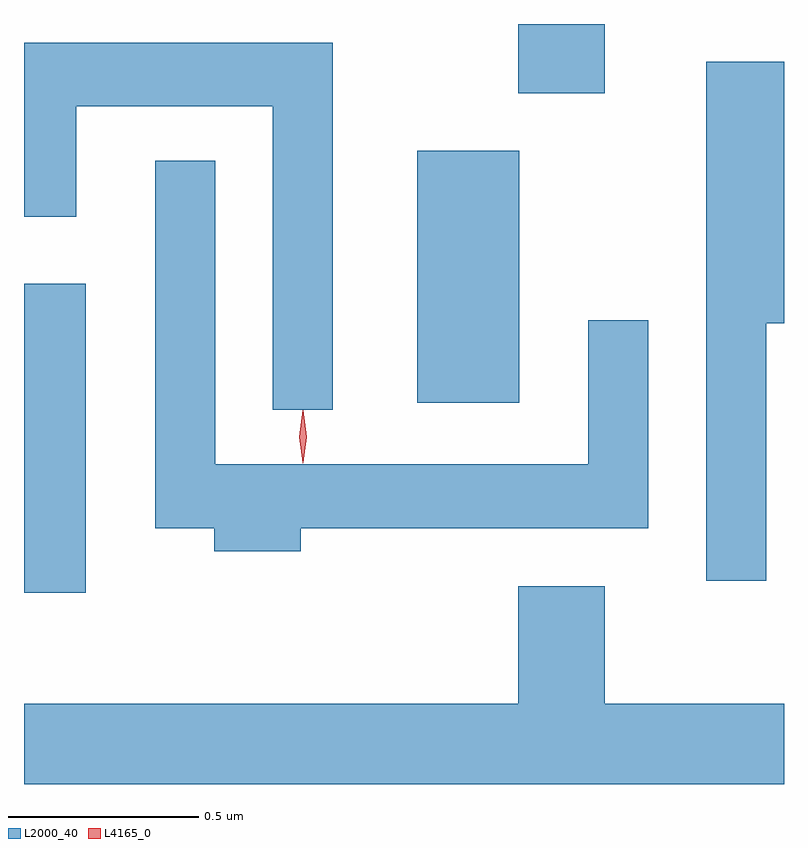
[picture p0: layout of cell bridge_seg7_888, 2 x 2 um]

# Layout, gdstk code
import gdstk
lib = gdstk.Library(unit=1e-6, precision=1e-09)
def R(c, l, rs):  # rectangles x0, y0, x1, y1
    for r in rs: c.add(gdstk.rectangle(r[:2], r[2:], *l))
def P(c, l, *ps):  # polygons
    for p in ps: c.add(gdstk.Polygon(p, *l))
L2000_40 = (2000, 40)
L4165_0 = (4165, 0)

bridge_seg7_888 = lib.new_cell('bridge_seg7_888')
R(bridge_seg7_888, L2000_40, [(318.931,1690.456,319.094,1691.269), (319.966,1690.956,320.234,1691.619), (320.231,1691.771,320.459,1691.953)])
P(bridge_seg7_888, L2000_40, [(319.744,1691.904),(318.931,1691.904),(318.931,1691.446),(319.069,1691.446),(319.069,1691.736),(319.586,1691.736),(319.586,1690.938),(319.744,1690.938)],
  [(320.884,1691.166),(320.931,1691.166),(320.931,1691.854),(320.726,1691.854),(320.726,1690.488),(320.884,1690.488)],
  [(319.659,1690.626),(320.574,1690.626),(320.574,1691.173),(320.416,1691.173),(320.416,1690.794),(319.434,1690.794),(319.434,1691.593),(319.276,1691.593),(319.276,1690.626),(319.431,1690.626),(319.431,1690.566),(319.659,1690.566)],
  [(320.931,1690.164),(320.459,1690.164),(320.459,1690.474),(320.231,1690.474),(320.231,1690.164),(318.931,1690.164),(318.931,1689.953),(320.931,1689.953)])
P(bridge_seg7_888, L4165_0, [(319.665,1690.797),(319.665,1690.798),(319.655,1690.867),(319.665,1690.936),(319.665,1690.936),(319.666,1690.936),(319.675,1690.867),(319.666,1690.798)],
  [(319.665,1690.8),(319.665,1690.8),(319.655,1690.866),(319.665,1690.932),(319.665,1690.933),(319.666,1690.932),(319.675,1690.866),(319.666,1690.8)])

lib.write_gds('bridge_seg7_888.gds')
